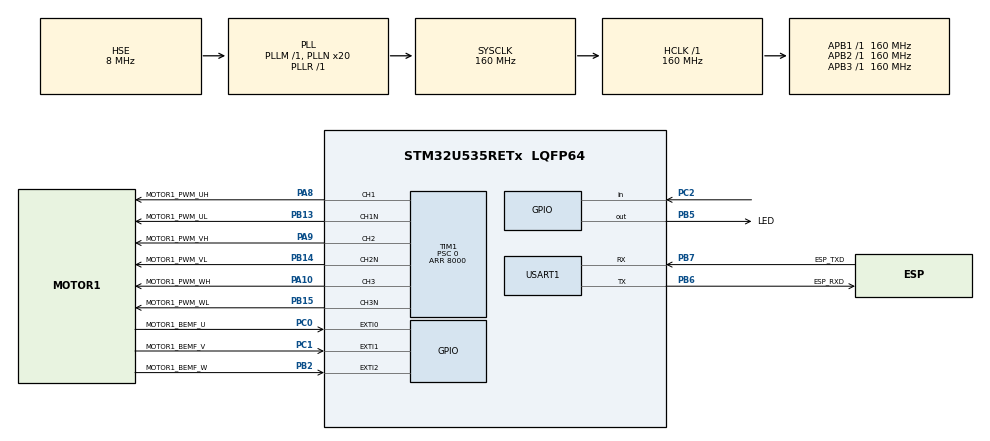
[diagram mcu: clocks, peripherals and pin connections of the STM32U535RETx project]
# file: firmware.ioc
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CORTEX_M33_NS.userName=CORTEX_M33
GPDMA1.CIRCULARMODE_GPDMACH0=DISABLE
GPDMA1.CIRCULARMODE_GPDMACH1=ENABLE
GPDMA1.DESTINC_GPDMACH1=DMA_DINC_INCREMENTED
GPDMA1.DIRECTION_GPDMACH0=DMA_MEMORY_TO_PERIPH
GPDMA1.IPHANDLE_GPDMACH0-SIMPLEREQUEST_GPDMACH0=__NULL
GPDMA1.IPHANDLE_GPDMACH1-SIMPLEREQUEST_GPDMACH1=__NULL
GPDMA1.REQUEST_GPDMACH0=GPDMA1_REQUEST_USART1_TX
GPDMA1.REQUEST_GPDMACH1=GPDMA1_REQUEST_USART1_RX
GPDMA1.SRCINC_GPDMACH0=DMA_SINC_INCREMENTED
GPDMA1.TRIGGERPOLARITY_GPDMACH1=DMA_TRIG_POLARITY_MASKED
Mcu.Family=STM32U5
Mcu.Name=STM32U535RETx
Mcu.Package=LQFP64
NVIC.EXTI0_IRQn=true\:0\:0\:false\:false\:true\:true\:true\:true
NVIC.EXTI1_IRQn=true\:0\:0\:false\:false\:true\:true\:true\:true
NVIC.EXTI2_IRQn=true\:0\:0\:false\:false\:true\:true\:true\:true
NVIC.GPDMA1_Channel0_IRQn=true\:0\:0\:false\:false\:true\:false\:true\:true
NVIC.GPDMA1_Channel1_IRQn=true\:0\:0\:false\:false\:true\:false\:true\:true
NVIC.PriorityGroup=NVIC_PRIORITYGROUP_4
NVIC.TIM1_TRG_COM_IRQn=true\:0\:0\:false\:false\:true\:true\:true\:true
NVIC.USART1_IRQn=true\:0\:0\:false\:false\:true\:true\:true\:true
PA10.GPIO_Label=MOTOR1_PWM_WH
PA10.Signal=S_TIM1_CH3
PA8.GPIO_Label=MOTOR1_PWM_UH
PA8.Signal=S_TIM1_CH1
PA9.GPIO_Label=MOTOR1_PWM_VH
PA9.Signal=S_TIM1_CH2
PB13.GPIO_Label=MOTOR1_PWM_UL
PB13.Mode=PWM Generation1 CH1 CH1N
PB13.Signal=TIM1_CH1N
PB14.GPIO_Label=MOTOR1_PWM_VL
PB14.Mode=PWM Generation2 CH2 CH2N
PB14.Signal=TIM1_CH2N
PB15.GPIO_Label=MOTOR1_PWM_WL
PB15.Mode=PWM Generation3 CH3 CH3N
PB15.Signal=TIM1_CH3N
PB2.GPIO_Label=MOTOR1_BEMF_W
PB2.GPIO_ModeDefaultEXTI=GPIO_MODE_IT_RISING_FALLING
PB2.Signal=GPXTI2
PB5.GPIO_Label=LED
PB5.Signal=GPIO_Output
PB6.GPIO_Label=ESP_RXD
PB6.Mode=Asynchronous
PB6.Signal=USART1_TX
PB7.GPIO_Label=ESP_TXD
PB7.Mode=Asynchronous
PB7.Signal=USART1_RX
PC0.GPIO_Label=MOTOR1_BEMF_U
PC0.GPIO_ModeDefaultEXTI=GPIO_MODE_IT_RISING_FALLING
PC0.Signal=GPXTI0
PC1.GPIO_Label=MOTOR1_BEMF_V
PC1.GPIO_ModeDefaultEXTI=GPIO_MODE_IT_RISING_FALLING
PC1.Signal=GPXTI1
PC2.GPIO_PuPd=GPIO_PULLUP
PC2.Signal=GPIO_Input
PH0-OSC_IN\ (PH0).Mode=HSE-External-Oscillator
PH0-OSC_IN\ (PH0).Signal=RCC_OSC_IN
PH1-OSC_OUT\ (PH1).Mode=HSE-External-Oscillator
PH1-OSC_OUT\ (PH1).Signal=RCC_OSC_OUT
ProjectManager.HeapSize=0x200
ProjectManager.StackSize=0x400
ProjectManager.TargetToolchain=STM32CubeIDE
RCC.ADCFreq_Value=16000000
RCC.AHBFreq_Value=160000000
RCC.APB1Freq_Value=160000000
RCC.APB1TimFreq_Value=160000000
RCC.APB2Freq_Value=160000000
RCC.APB2TimFreq_Value=160000000
RCC.APB3Freq_Value=160000000
RCC.CortexFreq_Value=160000000
RCC.DACCLockSelectionVirtual=RCC_DAC1CLKSOURCE_LSI
RCC.DACCLockSelectionVirtualString=RCC_DAC1CLKSOURCE_LSI
RCC.EPOD_VALUE=8000000
RCC.HCLKFreq_Value=160000000
RCC.HSE_VALUE=8000000
RCC.HSI48_VALUE=48000000
RCC.HSI_VALUE=16000000
RCC.LSE_VALUE=32768
RCC.LSIDIV_VALUE=32000
RCC.MSIClockRange=RCC_MSIRANGE_0
RCC.MSI_VALUE=48000000
RCC.PLL1R=1
RCC.PLL2FRACN=0
RCC.PLL3FRACN=0
RCC.PLLFRACN=0
RCC.PLLN=20
RCC.PLLSourceVirtual=RCC_PLLSOURCE_HSE
RCC.SYSCLKFreq_VALUE=160000000
RCC.SYSCLKSource=RCC_SYSCLKSOURCE_PLLCLK
RCC.USBFreq_Value=48000000
RCC.VCOOutputFreq_Value=160000000
SH.S_TIM1_CH1.0=TIM1_CH1,PWM Generation1 CH1 CH1N
SH.S_TIM1_CH2.0=TIM1_CH2,PWM Generation2 CH2 CH2N
SH.S_TIM1_CH3.0=TIM1_CH3,PWM Generation3 CH3 CH3N
TIM1.Channel-PWM\ Generation1\ CH1\ CH1N=TIM_CHANNEL_1
TIM1.Channel-PWM\ Generation2\ CH2\ CH2N=TIM_CHANNEL_2
TIM1.Channel-PWM\ Generation3\ CH3\ CH3N=TIM_CHANNEL_3
TIM1.CounterMode=TIM_COUNTERMODE_CENTERALIGNED1
TIM1.DeadTime=244
TIM1.PeriodNoDither=8000
TIM1.Prescaler=0
TIM2.Prescaler=160-1
TIM2.TIM_MasterOutputTrigger=TIM_TRGO_UPDATE
USART1.VirtualMode-Asynchronous=VM_ASYNC
VP_GPDMA1_VS_GPDMACH0.Mode=SIMPLEREQUEST_GPDMACH0
VP_GPDMA1_VS_GPDMACH1.Mode=SIMPLEREQUEST_GPDMACH1
VP_LPBAMQUEUE_VS_QUEUE.Mode=QUEUEMODE
VP_LPBAM_VS_SIG1.Mode=SmartRun
VP_LPBAM_VS_SIG4.Mode=LPDMA1
VP_MEMORYMAP_VS_MEMORYMAP.Mode=CurAppReg
VP_PWR_VS_SECSignals.Mode=Security/Privilege
VP_TIM2_VS_ClockSourceINT.Mode=Internal
board=custom

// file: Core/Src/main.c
/* USER CODE BEGIN Header */
/**
  ******************************************************************************
  * @file           : main.c
  * @brief          : Main program body
  ******************************************************************************
  * @attention
  *
  * Copyright (c) 2024 STMicroelectronics.
  * All rights reserved.
  *
  * This software is licensed under terms that can be found in the LICENSE file
  * in the root directory of this software component.
  * If no LICENSE file comes with this software, it is provided AS-IS.
  *
  ******************************************************************************
  */
/* USER CODE END Header */
#include "main.h"

/* USER CODE BEGIN Includes */

#include <stdbool.h>
#include <stdio.h>
#include <string.h>

#include "motor.h"
#include "protocol.h"

/* USER CODE END Includes */

TIM_HandleTypeDef htim1;
TIM_HandleTypeDef htim2;

UART_HandleTypeDef huart1;
DMA_NodeTypeDef Node_GPDMA1_Channel1;
DMA_QListTypeDef List_GPDMA1_Channel1;
DMA_HandleTypeDef handle_GPDMA1_Channel1;
DMA_HandleTypeDef handle_GPDMA1_Channel0;

void SystemClock_Config(void);
static void MX_GPIO_Init(void);
static void MX_GPDMA1_Init(void);
static void MX_TIM1_Init(void);
static void MX_USART1_UART_Init(void);
static void MX_TIM2_Init(void);

/* USER CODE BEGIN 0 */

#define BUFFER_SIZE		(10*1024)

static motor_t motor = {
	.control_timer = &htim1,
	.control_timer_itr = TIM_TS_ITR1,
	.commut_timer = &htim2,
};

static protocol_t protocol = PROTOCOL_INIT;
static uint8_t protocol_buffer_rx[BUFFER_SIZE];
static uint8_t protocol_buffer_tx[BUFFER_SIZE];
static uint8_t protocol_buffer_decode[BUFFER_SIZE];

void HAL_TIMEx_CommutCallback(TIM_HandleTypeDef *htim) {
	motor_commutation_callback(&motor, htim);
}

void HAL_GPIO_EXTI_Rising_Callback(uint16_t GPIO_Pin) {
	motor_interrupt_callback(&motor, GPIO_Pin);
}

void HAL_GPIO_EXTI_Falling_Callback(uint16_t GPIO_Pin) {
	motor_interrupt_callback(&motor, GPIO_Pin);
}

static void protocol_cb_transmit(void *user, const void *data, const uint32_t size) {
    (void)user;
    HAL_UART_Transmit_DMA(&huart1, data, size);
}

static void protocol_cb_receive(void *user, const uint8_t id, const uint32_t time, const void *payload, const uint32_t size) {
    (void)user;
    (void)time;
    (void)payload;

    if((id==1) && (size==1)) {
    	HAL_GPIO_WritePin(LED_GPIO_Port, LED_Pin, *(uint8_t *)payload);
    }
}

static uint32_t protocol_cb_time(void *user) {
	(void)user;
	return HAL_GetTick();
}

/* USER CODE END 0 */

int main(void)
{

  /* MCU Configuration--------------------------------------------------------*/

  /* Reset of all peripherals, Initializes the Flash interface and the Systick. */
  HAL_Init();

  /* Configure the system clock */
  SystemClock_Config();

  /* Initialize all configured peripherals */
  MX_GPIO_Init();
  MX_GPDMA1_Init();
  MX_TIM1_Init();
  MX_USART1_UART_Init();
  MX_TIM2_Init();

  /* Infinite loop */
  /* USER CODE BEGIN WHILE */

  motor_init(&motor);

	protocol.callback_tx = protocol_cb_transmit;
	protocol.callback_rx = protocol_cb_receive;
	protocol.callback_time = protocol_cb_time;
	protocol.fifo_rx.buffer = protocol_buffer_rx;
	protocol.fifo_rx.size = sizeof(protocol_buffer_rx);
	protocol.fifo_tx.buffer = protocol_buffer_tx;
	protocol.fifo_tx.size = sizeof(protocol_buffer_tx);
	protocol.decoded = protocol_buffer_decode;
	protocol.max = sizeof(protocol_buffer_decode);

	HAL_UART_Receive_DMA(&huart1, protocol.fifo_rx.buffer, protocol.fifo_rx.size);

  uint32_t task_protocol = 0;
  uint32_t task_state = 0;

  while(1) {
	  const uint32_t time = HAL_GetTick();

	  if((time - task_protocol)>=1) {
		  task_protocol = time;
		  protocol.fifo_rx.write = protocol.fifo_rx.size - __HAL_DMA_GET_COUNTER(huart1.hdmarx);
		  protocol.available = (HAL_DMA_GetState(huart1.hdmatx)==HAL_DMA_STATE_READY);
		  protocol_process(&protocol);
	  }

	  if((time - task_state)>=10) {
		  task_state = time;
		  char json[1024];
		  sprintf(json, "{\"STM timestamp\": %lu}", HAL_GetTick());

		  protocol_enqueue(&protocol, 0, json, strlen(json)+1);
	  }

	  if(!HAL_GPIO_ReadPin(GPIOC, GPIO_PIN_2)) {
		  motor_set_vel(&motor, 200);
	  }

	  motor_tick(&motor);

    /* USER CODE END WHILE */

  }
}

void SystemClock_Config(void)
{
  RCC_OscInitTypeDef RCC_OscInitStruct = {0};
  RCC_ClkInitTypeDef RCC_ClkInitStruct = {0};

  /** Configure the main internal regulator output voltage
  */
  if (HAL_PWREx_ControlVoltageScaling(PWR_REGULATOR_VOLTAGE_SCALE1) != HAL_OK)
  {
    Error_Handler();
  }

  /** Initializes the CPU, AHB and APB buses clocks
  */
  RCC_OscInitStruct.OscillatorType = RCC_OSCILLATORTYPE_HSE;
  RCC_OscInitStruct.HSEState = RCC_HSE_ON;
  RCC_OscInitStruct.PLL.PLLState = RCC_PLL_ON;
  RCC_OscInitStruct.PLL.PLLSource = RCC_PLLSOURCE_HSE;
  RCC_OscInitStruct.PLL.PLLMBOOST = RCC_PLLMBOOST_DIV1;
  RCC_OscInitStruct.PLL.PLLM = 1;
  RCC_OscInitStruct.PLL.PLLN = 20;
  RCC_OscInitStruct.PLL.PLLP = 2;
  RCC_OscInitStruct.PLL.PLLQ = 2;
  RCC_OscInitStruct.PLL.PLLR = 1;
  RCC_OscInitStruct.PLL.PLLRGE = RCC_PLLVCIRANGE_1;
  RCC_OscInitStruct.PLL.PLLFRACN = 0;
  if (HAL_RCC_OscConfig(&RCC_OscInitStruct) != HAL_OK)
  {
    Error_Handler();
  }

  /** Initializes the CPU, AHB and APB buses clocks
  */
  RCC_ClkInitStruct.ClockType = RCC_CLOCKTYPE_HCLK|RCC_CLOCKTYPE_SYSCLK
                              |RCC_CLOCKTYPE_PCLK1|RCC_CLOCKTYPE_PCLK2
                              |RCC_CLOCKTYPE_PCLK3;
  RCC_ClkInitStruct.SYSCLKSource = RCC_SYSCLKSOURCE_PLLCLK;
  RCC_ClkInitStruct.AHBCLKDivider = RCC_SYSCLK_DIV1;
  RCC_ClkInitStruct.APB1CLKDivider = RCC_HCLK_DIV1;
  RCC_ClkInitStruct.APB2CLKDivider = RCC_HCLK_DIV1;
  RCC_ClkInitStruct.APB3CLKDivider = RCC_HCLK_DIV1;

  if (HAL_RCC_ClockConfig(&RCC_ClkInitStruct, FLASH_LATENCY_4) != HAL_OK)
  {
    Error_Handler();
  }
}

static void MX_GPDMA1_Init(void)
{

  /* Peripheral clock enable */
  __HAL_RCC_GPDMA1_CLK_ENABLE();

  /* GPDMA1 interrupt Init */
    HAL_NVIC_SetPriority(GPDMA1_Channel0_IRQn, 0, 0);
    HAL_NVIC_EnableIRQ(GPDMA1_Channel0_IRQn);
    HAL_NVIC_SetPriority(GPDMA1_Channel1_IRQn, 0, 0);
    HAL_NVIC_EnableIRQ(GPDMA1_Channel1_IRQn);

}

static void MX_TIM1_Init(void)
{

  TIM_MasterConfigTypeDef sMasterConfig = {0};
  TIM_OC_InitTypeDef sConfigOC = {0};
  TIM_BreakDeadTimeConfigTypeDef sBreakDeadTimeConfig = {0};

  htim1.Instance = TIM1;
  htim1.Init.Prescaler = 0;
  htim1.Init.CounterMode = TIM_COUNTERMODE_CENTERALIGNED1;
  htim1.Init.Period = 8000;
  htim1.Init.ClockDivision = TIM_CLOCKDIVISION_DIV1;
  htim1.Init.RepetitionCounter = 0;
  htim1.Init.AutoReloadPreload = TIM_AUTORELOAD_PRELOAD_DISABLE;
  if (HAL_TIM_PWM_Init(&htim1) != HAL_OK)
  {
    Error_Handler();
  }
  sMasterConfig.MasterOutputTrigger = TIM_TRGO_RESET;
  sMasterConfig.MasterOutputTrigger2 = TIM_TRGO2_RESET;
  sMasterConfig.MasterSlaveMode = TIM_MASTERSLAVEMODE_DISABLE;
  if (HAL_TIMEx_MasterConfigSynchronization(&htim1, &sMasterConfig) != HAL_OK)
  {
    Error_Handler();
  }
  sConfigOC.OCMode = TIM_OCMODE_PWM1;
  sConfigOC.Pulse = 0;
  sConfigOC.OCPolarity = TIM_OCPOLARITY_HIGH;
  sConfigOC.OCNPolarity = TIM_OCNPOLARITY_HIGH;
  sConfigOC.OCFastMode = TIM_OCFAST_DISABLE;
  sConfigOC.OCIdleState = TIM_OCIDLESTATE_RESET;
  sConfigOC.OCNIdleState = TIM_OCNIDLESTATE_RESET;
  if (HAL_TIM_PWM_ConfigChannel(&htim1, &sConfigOC, TIM_CHANNEL_1) != HAL_OK)
  {
    Error_Handler();
  }
  if (HAL_TIM_PWM_ConfigChannel(&htim1, &sConfigOC, TIM_CHANNEL_2) != HAL_OK)
  {
    Error_Handler();
  }
  if (HAL_TIM_PWM_ConfigChannel(&htim1, &sConfigOC, TIM_CHANNEL_3) != HAL_OK)
  {
    Error_Handler();
  }
  sBreakDeadTimeConfig.OffStateRunMode = TIM_OSSR_DISABLE;
  sBreakDeadTimeConfig.OffStateIDLEMode = TIM_OSSI_DISABLE;
  sBreakDeadTimeConfig.LockLevel = TIM_LOCKLEVEL_OFF;
  sBreakDeadTimeConfig.DeadTime = 244;
  sBreakDeadTimeConfig.BreakState = TIM_BREAK_DISABLE;
  sBreakDeadTimeConfig.BreakPolarity = TIM_BREAKPOLARITY_HIGH;
  sBreakDeadTimeConfig.BreakFilter = 0;
  sBreakDeadTimeConfig.BreakAFMode = TIM_BREAK_AFMODE_INPUT;
  sBreakDeadTimeConfig.Break2State = TIM_BREAK2_DISABLE;
  sBreakDeadTimeConfig.Break2Polarity = TIM_BREAK2POLARITY_HIGH;
  sBreakDeadTimeConfig.Break2Filter = 0;
  sBreakDeadTimeConfig.Break2AFMode = TIM_BREAK_AFMODE_INPUT;
  sBreakDeadTimeConfig.AutomaticOutput = TIM_AUTOMATICOUTPUT_DISABLE;
  if (HAL_TIMEx_ConfigBreakDeadTime(&htim1, &sBreakDeadTimeConfig) != HAL_OK)
  {
    Error_Handler();
  }
  HAL_TIM_MspPostInit(&htim1);

}

static void MX_TIM2_Init(void)
{

  TIM_ClockConfigTypeDef sClockSourceConfig = {0};
  TIM_MasterConfigTypeDef sMasterConfig = {0};

  htim2.Instance = TIM2;
  htim2.Init.Prescaler = 160-1;
  htim2.Init.CounterMode = TIM_COUNTERMODE_UP;
  htim2.Init.Period = 4294967295;
  htim2.Init.ClockDivision = TIM_CLOCKDIVISION_DIV1;
  htim2.Init.AutoReloadPreload = TIM_AUTORELOAD_PRELOAD_DISABLE;
  if (HAL_TIM_Base_Init(&htim2) != HAL_OK)
  {
    Error_Handler();
  }
  sClockSourceConfig.ClockSource = TIM_CLOCKSOURCE_INTERNAL;
  if (HAL_TIM_ConfigClockSource(&htim2, &sClockSourceConfig) != HAL_OK)
  {
    Error_Handler();
  }
  sMasterConfig.MasterOutputTrigger = TIM_TRGO_UPDATE;
  sMasterConfig.MasterSlaveMode = TIM_MASTERSLAVEMODE_DISABLE;
  if (HAL_TIMEx_MasterConfigSynchronization(&htim2, &sMasterConfig) != HAL_OK)
  {
    Error_Handler();
  }

}

static void MX_USART1_UART_Init(void)
{

  huart1.Instance = USART1;
  huart1.Init.BaudRate = 115200;
  huart1.Init.WordLength = UART_WORDLENGTH_8B;
  huart1.Init.StopBits = UART_STOPBITS_1;
  huart1.Init.Parity = UART_PARITY_NONE;
  huart1.Init.Mode = UART_MODE_TX_RX;
  huart1.Init.HwFlowCtl = UART_HWCONTROL_NONE;
  huart1.Init.OverSampling = UART_OVERSAMPLING_16;
  huart1.Init.OneBitSampling = UART_ONE_BIT_SAMPLE_DISABLE;
  huart1.Init.ClockPrescaler = UART_PRESCALER_DIV1;
  huart1.AdvancedInit.AdvFeatureInit = UART_ADVFEATURE_NO_INIT;
  if (HAL_UART_Init(&huart1) != HAL_OK)
  {
    Error_Handler();
  }
  if (HAL_UARTEx_SetTxFifoThreshold(&huart1, UART_TXFIFO_THRESHOLD_1_8) != HAL_OK)
  {
    Error_Handler();
  }
  if (HAL_UARTEx_SetRxFifoThreshold(&huart1, UART_RXFIFO_THRESHOLD_1_8) != HAL_OK)
  {
    Error_Handler();
  }
  if (HAL_UARTEx_DisableFifoMode(&huart1) != HAL_OK)
  {
    Error_Handler();
  }

}

static void MX_GPIO_Init(void)
{
  GPIO_InitTypeDef GPIO_InitStruct = {0};

  /* GPIO Ports Clock Enable */
  __HAL_RCC_GPIOH_CLK_ENABLE();
  __HAL_RCC_GPIOC_CLK_ENABLE();
  __HAL_RCC_GPIOB_CLK_ENABLE();
  __HAL_RCC_GPIOA_CLK_ENABLE();

  /*Configure GPIO pin Output Level */
  HAL_GPIO_WritePin(LED_GPIO_Port, LED_Pin, GPIO_PIN_RESET);

  /*Configure GPIO pins : MOTOR1_BEMF_U_Pin MOTOR1_BEMF_V_Pin */
  GPIO_InitStruct.Pin = MOTOR1_BEMF_U_Pin|MOTOR1_BEMF_V_Pin;
  GPIO_InitStruct.Mode = GPIO_MODE_IT_RISING_FALLING;
  GPIO_InitStruct.Pull = GPIO_NOPULL;
  HAL_GPIO_Init(GPIOC, &GPIO_InitStruct);

  /*Configure GPIO pin : PC2 */
  GPIO_InitStruct.Pin = GPIO_PIN_2;
  GPIO_InitStruct.Mode = GPIO_MODE_INPUT;
  GPIO_InitStruct.Pull = GPIO_PULLUP;
  HAL_GPIO_Init(GPIOC, &GPIO_InitStruct);

  /*Configure GPIO pin : MOTOR1_BEMF_W_Pin */
  GPIO_InitStruct.Pin = MOTOR1_BEMF_W_Pin;
  GPIO_InitStruct.Mode = GPIO_MODE_IT_RISING_FALLING;
  GPIO_InitStruct.Pull = GPIO_NOPULL;
  HAL_GPIO_Init(MOTOR1_BEMF_W_GPIO_Port, &GPIO_InitStruct);

  /*Configure GPIO pin : LED_Pin */
  GPIO_InitStruct.Pin = LED_Pin;
  GPIO_InitStruct.Mode = GPIO_MODE_OUTPUT_PP;
  GPIO_InitStruct.Pull = GPIO_NOPULL;
  GPIO_InitStruct.Speed = GPIO_SPEED_FREQ_LOW;
  HAL_GPIO_Init(LED_GPIO_Port, &GPIO_InitStruct);

  /* EXTI interrupt init*/
  HAL_NVIC_SetPriority(EXTI0_IRQn, 0, 0);
  HAL_NVIC_EnableIRQ(EXTI0_IRQn);

  HAL_NVIC_SetPriority(EXTI1_IRQn, 0, 0);
  HAL_NVIC_EnableIRQ(EXTI1_IRQn);

  HAL_NVIC_SetPriority(EXTI2_IRQn, 0, 0);
  HAL_NVIC_EnableIRQ(EXTI2_IRQn);

}

void Error_Handler(void)
{
  __disable_irq();
  while (1)
  {
  }
}
